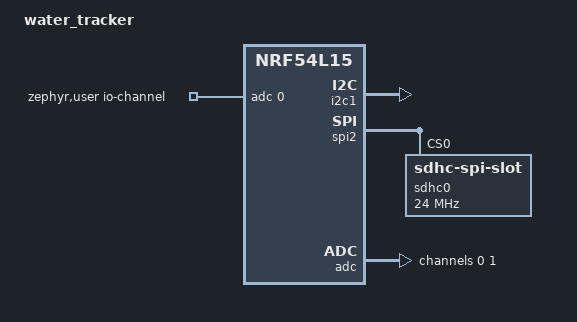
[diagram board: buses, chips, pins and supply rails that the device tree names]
/dts-v1/;
#include <nordic/nrf54L15_M33.dtsi>
#include "water_sense_board-pinctrl.dtsi"
//#include <zephyr/dt-bindings/input/input-event-codes.h>

/ {
	model = "water_tracker";
	compatible = "ethzurich,water_tracker";

	chosen {
		zephyr,sram = &sram0;
		zephyr,flash = &flash0;
		zephyr,code-partition = &slot0_partition;

	};

	/* These aliases are provided for compatibility with samples */
	aliases {
		watchdog0 = &wdt0;
	};

	zephyr,user {
		io-channels = <&adc 0>;
	};
};

&flash0 {
	partitions {
		compatible = "fixed-partitions";
		#address-cells = <1>;
		#size-cells = <1>;

		boot_partition: partition@0 {
			label = "mcuboot";
			reg = <0x00000000 DT_SIZE_K(48)>;
		};

		slot0_partition: partition@c000 {
			label = "image-0";
			reg = <0x0000c000 DT_SIZE_K(220)>;
		};

		slot1_partition: partition@43000 {
			label = "image-1";
			reg = <0x00043000 DT_SIZE_K(220)>;
		};

		storage_partition: partition@7a000 {
			label = "storage";
			reg = <0x0007a000 DT_SIZE_K(24)>;
		};
	};
};

&gpiote {
	status = "okay";
};

&gpio0 {
	status = "okay";
	label = "GPIO0";
};


// Enable I2C1 node
&i2c1 {
	status = "okay";
	pinctrl-0 = <&i2c1_default>;
	pinctrl-1 = <&i2c1_sleep>;
	pinctrl-names = "default", "sleep";
};

// Enable SPI2 node
&spi2 {

	status = "okay";
	pinctrl-0 = <&spi2_default>;
	pinctrl-1 = <&spi2_sleep>;
	pinctrl-names = "default", "sleep";

	sdhc0: sdhc@0 {
		status = "okay";
		compatible = "zephyr,sdhc-spi-slot";
		reg = <0>;
		power-delay-ms = <500>;
	   	spi-max-frequency = <24000000>;
		mmc {
			status = "okay";
			compatible = "zephyr,sdmmc-disk";
		};
	};
};

// Configure the ADC channel
&adc {
	#address-cells = <1>;
	#size-cells = <0>;
	status = "okay";
	channel@0 {
		reg = <0>;
		zephyr,gain = "ADC_GAIN_1_6";
		zephyr,reference = "ADC_REF_INTERNAL";
		zephyr,acquisition-time = <ADC_ACQ_TIME(ADC_ACQ_TIME_MICROSECONDS, 5)>;
		zephyr,input-positive = <NRF_SAADC_AIN2>;
		zephyr,resolution = <12>;
		zephyr,oversampling = <4>;
	};
	channel@1 {
		reg = <1>;
		zephyr,gain = "ADC_GAIN_1_6";
		zephyr,reference = "ADC_REF_INTERNAL";
		zephyr,acquisition-time = <ADC_ACQ_TIME(ADC_ACQ_TIME_MICROSECONDS, 5)>;
		zephyr,input-positive = <NRF_SAADC_AIN4>;
		zephyr,resolution = <12>;
		zephyr,oversampling = <4>;
	};
};
